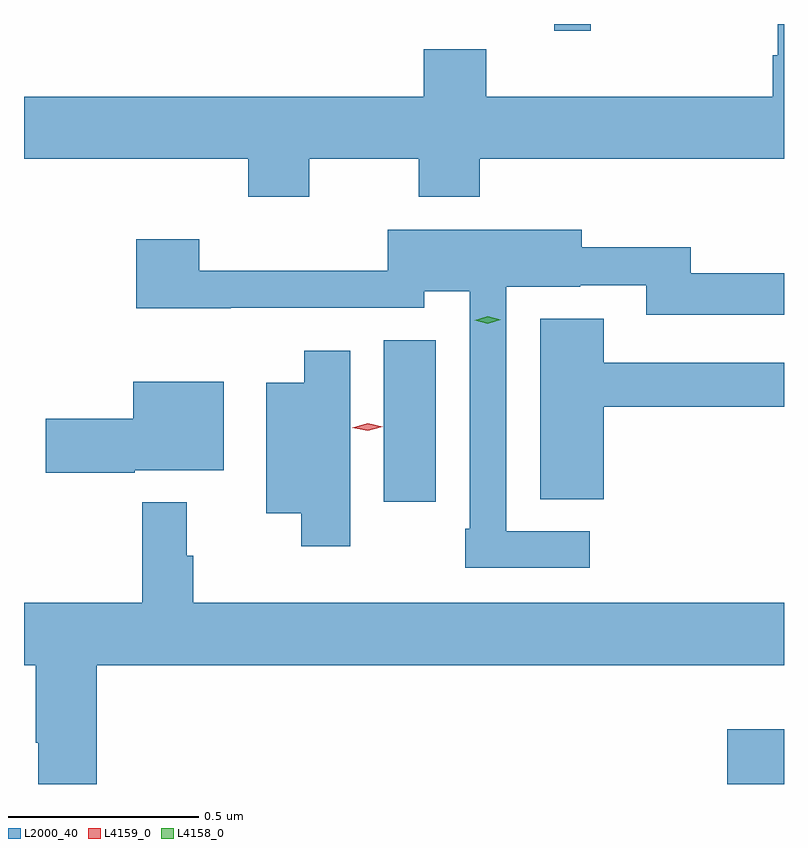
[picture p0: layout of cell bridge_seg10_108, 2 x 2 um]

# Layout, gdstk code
import gdstk
lib = gdstk.Library(unit=1e-6, precision=1e-09)
def R(c, l, rs):  # rectangles x0, y0, x1, y1
    for r in rs: c.add(gdstk.rectangle(r[:2], r[2:], *l))
def P(c, l, *ps):  # polygons
    for p in ps: c.add(gdstk.Polygon(p, *l))
L2000_40 = (2000, 40)
L4158_0 = (4158, 0)
L4159_0 = (4159, 0)

bridge_seg10_108 = lib.new_cell('bridge_seg10_108')
R(bridge_seg10_108, L2000_40, [(481.271,1257.379,481.421,1257.523), (480.368,1258.122,480.505,1258.547), (480.816,1259.361,480.912,1259.379)])
P(bridge_seg10_108, L2000_40, [(480.171,1259.024),(480.46,1259.024),(480.46,1258.925),(480.62,1258.925),(480.62,1259.024),(481.421,1259.024),(481.421,1259.379),(481.404,1259.379),(481.404,1259.297),(481.391,1259.297),(481.391,1259.188),(480.638,1259.188),(480.638,1259.312),(480.473,1259.312),(480.473,1259.188),(479.421,1259.188),(479.421,1259.024),(480.011,1259.024),(480.011,1258.925),(480.171,1258.925)],
  [(480.91,1258.044),(480.69,1258.044),(480.69,1258.688),(480.885,1258.688),(480.885,1258.692),(481.059,1258.692),(481.059,1258.614),(481.421,1258.614),(481.421,1258.723),(481.175,1258.723),(481.175,1258.791),(480.889,1258.791),(480.889,1258.837),(480.378,1258.837),(480.378,1258.73),(479.882,1258.73),(479.882,1258.813),(479.717,1258.813),(479.717,1258.631),(479.965,1258.631),(479.965,1258.632),(480.474,1258.632),(480.474,1258.676),(480.594,1258.676),(480.594,1258.051),(480.582,1258.051),(480.582,1257.948),(480.91,1257.948)],
  [(480.946,1258.372),(481.421,1258.372),(481.421,1258.488),(480.946,1258.488),(480.946,1258.603),(480.779,1258.603),(480.779,1258.129),(480.946,1258.129)],
  [(480.28,1258.519),(480.158,1258.519),(480.158,1258.435),(480.059,1258.435),(480.059,1258.091),(480.151,1258.091),(480.151,1258.005),(480.28,1258.005)],
  [(479.712,1258.205),(479.947,1258.205),(479.947,1258.438),(479.708,1258.438),(479.708,1258.34),(479.478,1258.34),(479.478,1258.198),(479.712,1258.198)],
  [(479.612,1257.692),(481.421,1257.692),(481.421,1257.856),(479.867,1257.856),(479.867,1257.98),(479.849,1257.98),(479.849,1258.12),(479.732,1258.12),(479.732,1257.856),(479.421,1257.856),(479.421,1257.692),(479.452,1257.692),(479.452,1257.488),(479.459,1257.488),(479.459,1257.379),(479.612,1257.379)])
P(bridge_seg10_108, L4158_0, [(480.642,1258.59),(480.607,1258.599),(480.607,1258.6),(480.607,1258.6),(480.641,1258.61),(480.676,1258.601),(480.676,1258.601),(480.676,1258.601)])
P(bridge_seg10_108, L4159_0, [(480.325,1258.308),(480.285,1258.317),(480.285,1258.317),(480.285,1258.317),(480.325,1258.328),(480.365,1258.319),(480.365,1258.319),(480.365,1258.319)])

lib.write_gds('bridge_seg10_108.gds')
